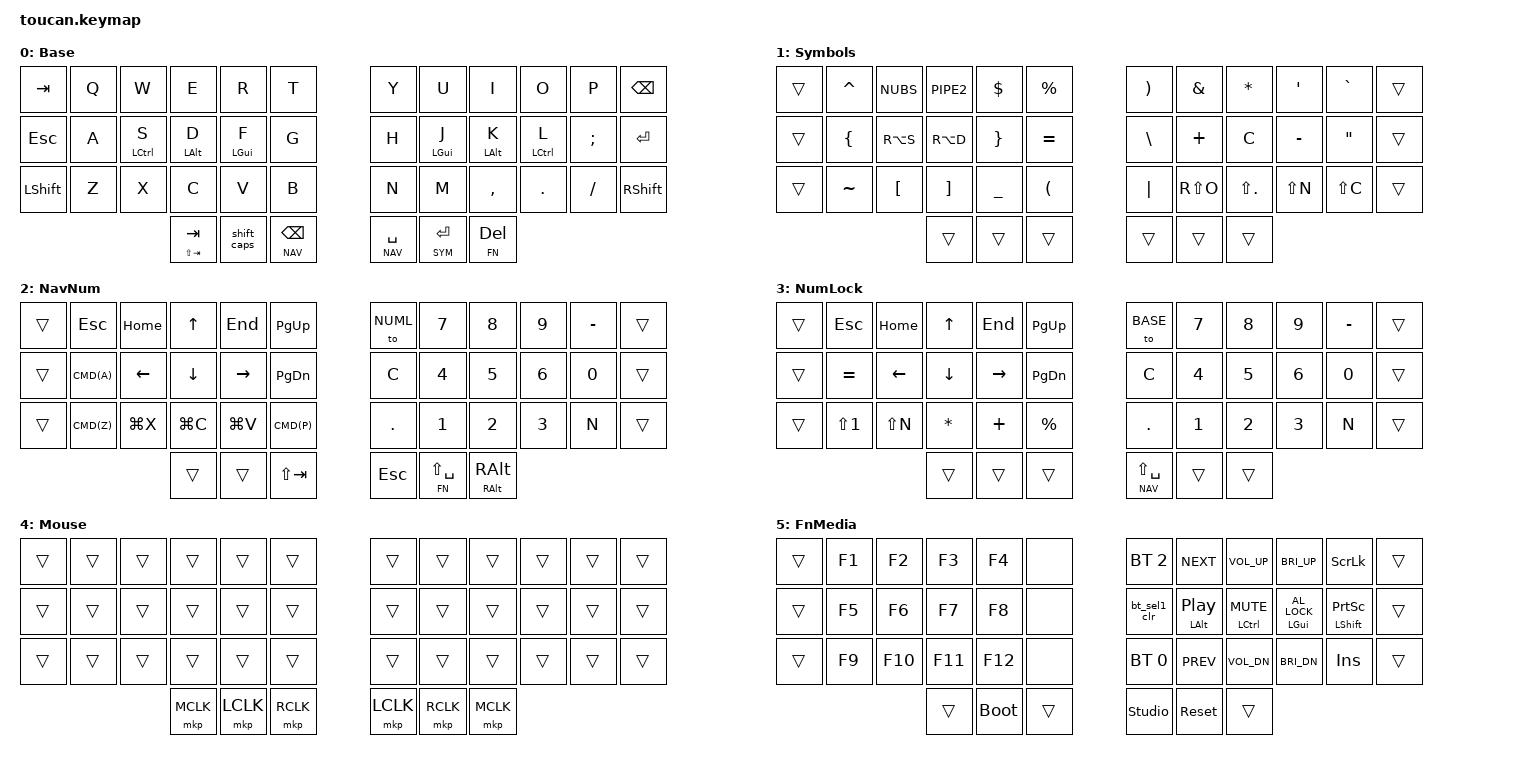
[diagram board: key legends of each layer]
// Toucan 2: Selenium keymap (HRM flavor) for an Ergo-L host on Linux
//
// 2026-09-10 hybrid: Selenium layers kept, base layer thumbs and home-row mods
// changed to match Kevin's Corne Vial layout.
//   HRM  : Ctrl/Alt/Gui on ring/middle/index (S D F, mirrored L K J). Pinky plain.
//   Left thumbs  (outer->inner): Tab, Shift (hold) / sticky Shift (tap) / Caps Word (2 taps), Nav-Backspace
//   36 keys populated: the outer pinky column never fires. Esc = combo on the top-row
//   R+T positions (Ergo-L p+w), also NavNum + Q. Outer thumb: tap = Tab, hold = Shift+Tab.
//   Right thumbs (inner->outer): Nav-Space, Sym-Enter (hold), Fn-Delete
// Hand-port of OneDeadKey/zmk-config-aekeynox using stock ZMK v0.3 behaviors,
// so it drops into beekeeb/zmk-keyboard-toucan2 as config/toucan.keymap
// with no other file changed (trackpad, screen, LEDs, zoom all untouched).

#include <behaviors.dtsi>
#include <dt-bindings/zmk/keys.h>
#include <dt-bindings/zmk/bt.h>
#include <dt-bindings/zmk/outputs.h>
#include <dt-bindings/zmk/pointing.h>
#include <dt-bindings/zmk/input_transform.h>

// ---------------------------------------------------------------------------
// Layer indices. Order chosen to match what toucan.dtsi hard-codes:
//   is_touching_processor -> &mo 4   (mouse layer)
//   trackpad scroller     -> <1 2>   (hold Sym or Nav + move pad = scroll)
// ---------------------------------------------------------------------------
#define BASE  0
#define SYM   1
#define NAV   2   // Selenium "NavNum"
#define NUML  3   // Selenium "NumLock" (latched NavNum)
#define MOUSE 4
#define FN    5   // Selenium "FnMedia"

// Selenium timings (aekeynox defaults.h)
#define TAPPING_TERM       300
#define SHORT_TAPPING_TERM 150
#define QUICK_TAP          200

// Linux: Ctrl is the shortcut modifier
#define CMD LC

// Trackpad scroll speed (hold Sym or Nav + move pad). Pad movement is divided
// by this before becoming wheel ticks; stock toucan.dtsi uses 20, which was
// too fast. Larger = slower. Hyprland's per-device `sensitivity` only affects
// the pointer, not scroll, so this is the knob. (Hyprland `scroll_factor` on
// toucan-mouse is the reflash-free alternative for fine tuning.)
#define SCROLL_DIV 40

// ---------------------------------------------------------------------------
// Ergo-L host aliases (copied from aekeynox aliases/ergol.h)
// Keycodes are chosen so the Ergo-L xkb layout outputs the right symbol.
// ---------------------------------------------------------------------------
#define X_UNDO  &kp CMD(Z)
#define X_CUT   &kp LG(X)   // Super+X -> Omarchy "Universal cut" (Hyprland bind)
#define X_COPY  &kp LG(C)   // Super+code:54 -> Omarchy "Universal copy" (Ctrl+Insert in terminals)
#define X_PASTE &kp LG(V)   // Super+code:55 -> Omarchy "Universal paste" (Shift+Insert in terminals)
#define X_REDO  &kp CMD(P)
#define X_ALL   &kp CMD(A)

// Symbols layer: ^<>$% @&*'`  {()}= \+-/"  ~[]_# |!;:?
#define S_CARET &kp CARET
#define S_LT    &kp NUBS
#define S_GT    &kp PIPE2
#define S_DLLR  &kp DLLR
#define S_PRCNT &kp PRCNT
#define S_AT    &kp RPAR
#define S_AMPS  &kp AMPS
#define S_STAR  &kp STAR
#define S_SQT   &kp SQT
#define S_GRAVE &kp GRAVE
#define S_LBRC  &kp LBRC
#define S_LPAR  &kp RA(S)
#define S_RPAR  &kp RA(D)
#define S_RBRC  &kp RBRC
#define S_EQUAL &kp EQUAL
#define S_BSLH  &kp BSLH
#define S_PLUS  &kp PLUS
#define S_MINUS &kp C
#define S_FSLH  &kp MINUS
#define S_DQT   &kp DQT
#define S_TILDE &kp TILDE
#define S_LBKT  &kp LBKT
#define S_RBKT  &kp RBKT
#define S_UNDER &kp UNDER
#define S_HASH  &kp LPAR
#define S_PIPE  &kp PIPE
#define S_EXCL  &kp RS(O)
#define S_SEMI  &kp LS(DOT)
#define S_COLON &kp LS(N)
#define S_QMARK &kp LS(C)
#define S_COMMA &kp DOT
#define S_DOT   &kp N
#define S_MONEY &kp LS(N1)

// "Easy" sticky layer / sticky key: hold = momentary, tap = one-shot
#define EZ_SL(layer) &bsl layer layer
#define EZ_SK(mod)   &bsk mod mod

// Global tweaks from aekeynox hold_taps.dtsi
&sl { ignore-modifiers; };  // keep one-shot mods when chaining into a one-shot layer
&sk { quick-release; };     // avoids sticky-shift false positives
&mt { tapping-term-ms = <SHORT_TAPPING_TERM>; quick-tap-ms = <QUICK_TAP>; };
&lt { tapping-term-ms = <TAPPING_TERM>;       quick-tap-ms = <QUICK_TAP>; };

/ {
    behaviors {
        // Home-row mods
        hrm: homerow_mods {
            compatible = "zmk,behavior-hold-tap";
            #binding-cells = <2>;
            tapping-term-ms = <TAPPING_TERM>;
            quick-tap-ms = <QUICK_TAP>;
            flavor = "tap-preferred";
            bindings = <&kp>, <&kp>;
        };

        // "Space cadet": layer-tap with hold-preferred (thumb keys)
        sc: space_cadet {
            compatible = "zmk,behavior-hold-tap";
            #binding-cells = <2>;
            tapping-term-ms = <SHORT_TAPPING_TERM>;
            quick-tap-ms = <QUICK_TAP>;
            flavor = "hold-preferred";
            bindings = <&mo>, <&kp>;
        };

        // More robust one-shot layer / one-shot mod (macro-wrapped &sl / &sk)
        osl: one_shot_layer {
            compatible = "zmk,behavior-macro-one-param";
            #binding-cells = <1>;
            tap-ms = <0>;
            wait-ms = <0>;
            bindings = <&macro_param_1to1>, <&macro_tap &sl MACRO_PLACEHOLDER>;
        };
        bsl: better_sticky_layer {
            compatible = "zmk,behavior-hold-tap";
            #binding-cells = <2>;
            tapping-term-ms = <TAPPING_TERM>;
            flavor = "tap-preferred";
            bindings = <&mo>, <&osl>;
        };
        osm: one_shot_modifier {
            compatible = "zmk,behavior-macro-one-param";
            #binding-cells = <1>;
            tap-ms = <0>;
            wait-ms = <0>;
            bindings = <&macro_param_1to1>, <&macro_tap &sk MACRO_PLACEHOLDER>;
        };
        bsk: better_sticky_key {
            compatible = "zmk,behavior-hold-tap";
            #binding-cells = <2>;
            tapping-term-ms = <TAPPING_TERM>;
            flavor = "tap-preferred";
            bindings = <&kp>, <&osm>;
            hold-while-undecided;
        };

        // Left outer thumb: tap = Tab, hold = Shift+Tab. Tap-preferred so Tab then a
        // letter never turns into a hold; quick-tap keeps press-and-hold as Tab repeat.
        ttab: tab_shift_tab {
            compatible = "zmk,behavior-hold-tap";
            #binding-cells = <2>;
            tapping-term-ms = <200>;
            quick-tap-ms = <QUICK_TAP>;
            flavor = "tap-preferred";
            bindings = <&kp>, <&kp>;
        };

        // Left tuck thumb: sticky Shift, Shift + tap again = Caps Word
        shift_caps: shift_caps {
            compatible = "zmk,behavior-mod-morph";
            #binding-cells = <0>;
            bindings = <EZ_SK(LSHIFT)>, <&unshift_caps>;
            mods = <(MOD_LSFT)>;
        };
        unshift_caps: unshift_caps {
            compatible = "zmk,behavior-macro";
            #binding-cells = <0>;
            bindings = <&macro_tap &kp K_CANCEL>, <&caps_word>;
        };

        // Right tuck thumb: one-shot Symbols layer;
        // with Shift only -> one-shot Shift+AltGr (Ergo-L 3rd level shifted)
        sym_shift_altgr: sym_shift_altgr {
            compatible = "zmk,behavior-mod-morph";
            #binding-cells = <0>;
            bindings = <&sym_shift_altgr_inner>, <EZ_SL(SYM)>;
            mods = <(MOD_LCTL|MOD_RCTL|MOD_LGUI|MOD_RGUI|MOD_LALT)>;
            keep-mods = <(MOD_LCTL|MOD_RCTL|MOD_LGUI|MOD_RGUI|MOD_LALT)>;
        };
        sym_shift_altgr_inner: sym_shift_altgr_inner {
            compatible = "zmk,behavior-mod-morph";
            #binding-cells = <0>;
            bindings = <EZ_SL(SYM)>, <EZ_SK(LS(RALT))>;
            mods = <(MOD_LSFT|MOD_RSFT)>;
            keep-mods = <(MOD_LSFT|MOD_RSFT)>;
        };

        // NavNum right-outer thumb: tap = back to base + one-shot AltGr, hold = AltGr
        lkp: goto_layer_then_keypress {
            compatible = "zmk,behavior-macro-one-param";
            #binding-cells = <1>;
            wait-ms = <0>;
            tap-ms = <0>;
            bindings
                = <&macro_tap &to BASE>
                , <&macro_param_1to1>, <&macro_press &kp MACRO_PLACEHOLDER>
                , <&macro_pause_for_release>
                , <&macro_param_1to1>, <&macro_release &kp MACRO_PLACEHOLDER>;
        };
        losm: goto_layer_then_osm {
            compatible = "zmk,behavior-macro-one-param";
            #binding-cells = <1>;
            wait-ms = <0>;
            tap-ms = <0>;
            bindings
                = <&macro_tap &to BASE>
                , <&macro_param_1to1>, <&macro_tap &sk MACRO_PLACEHOLDER>;
        };
        lbsk: bsk_on_other_layer {
            compatible = "zmk,behavior-hold-tap";
            #binding-cells = <2>;
            tapping-term-ms = <TAPPING_TERM>;
            flavor = "tap-preferred";
            bindings = <&lkp>, <&losm>;
        };

        // FnMedia: tap = BT profile 1, Shift+tap = clear that profile's bond
        bt_sel1_clr: bt_sel1_clr {
            compatible = "zmk,behavior-mod-morph";
            #binding-cells = <0>;
            bindings = <&bt BT_SEL 1>, <&bt BT_CLR>;
            mods = <(MOD_LSFT)>;
        };
    };

    combos {
        compatible = "zmk,combos";
        // Top row, index + middle (physical R T, Ergo-L p w): Esc. Base layer only.
        combo_esc {
            timeout-ms = <40>;
            key-positions = <4 5>;
            bindings = <&kp ESC>;
            layers = <BASE>;
        };
    };

    keymap {
        compatible = "zmk,keymap";

        // 0. Base: QWERTY keycodes, host does Ergo-L. HRM: Gui/Ctl/Alt on ring/middle/index
        base {
            display-name = "Base";
            bindings = <
&kp TAB    &kp Q  &kp W          &kp E          &kp R          &kp T     &kp Y  &kp U          &kp I          &kp O          &kp P     &kp BSPC
&kp ESC    &kp A  &hrm LCTRL S   &hrm LALT D    &hrm LGUI F    &kp G     &kp H  &hrm LGUI J    &hrm LALT K    &hrm LCTRL L   &kp SEMI  &kp RET
&kp LSHFT  &kp Z  &kp X          &kp C          &kp V          &kp B     &kp N  &kp M          &kp COMMA      &kp DOT        &kp FSLH  &kp RSHFT
                  &ttab LS(TAB) TAB  &shift_caps  &sc NAV BSPC           &lt NAV SPACE  &sc SYM RET    &sc FN DEL
            >;
        };

        // 1. Symbols (same as Ergo-L AltGr layer). Trackpad scrolls while held.
        sym {
            display-name = "Symbols";
            bindings = <
&trans  S_CARET S_LT    S_GT    S_DLLR  S_PRCNT     S_AT    S_AMPS  S_STAR  S_SQT   S_GRAVE  &trans
&trans  S_LBRC  S_LPAR  S_RPAR  S_RBRC  S_EQUAL     S_BSLH  S_PLUS  S_MINUS S_FSLH  S_DQT    &trans
&trans  S_TILDE S_LBKT  S_RBKT  S_UNDER S_HASH      S_PIPE  S_EXCL  S_SEMI  S_COLON S_QMARK  &trans
                &trans  &trans  &trans      &trans  &trans  &trans
            >;
        };

        // 2. NavNum: arrows left, numpad right. Trackpad scrolls while held.
        nav {
            display-name = "NavNum";
            bindings = <
&trans  &kp ESC  &kp HOME &kp UP   &kp END   &kp PG_UP    &to NUML  &kp N7 &kp N8 &kp N9 S_FSLH  &trans
&trans  X_ALL    &kp LEFT &kp DOWN &kp RIGHT &kp PG_DN    S_MINUS   &kp N4 &kp N5 &kp N6 &kp N0  &trans
&trans  X_UNDO   X_CUT    X_COPY   X_PASTE   X_REDO       S_COMMA   &kp N1 &kp N2 &kp N3 S_DOT   &trans
                 &trans         &trans      &kp LS(TAB)   &kp ESC   &lt FN LS(SPACE)  &lbsk RALT RALT
            >;
        };

        // 3. NumLock: NavNum latched on, &to BASE (top right index) to leave
        numlock {
            display-name = "NumLock";
            bindings = <
&trans  &kp ESC  &kp HOME &kp UP   &kp END   &kp PG_UP    &to BASE  &kp N7 &kp N8 &kp N9 S_FSLH  &trans
&trans  S_EQUAL  &kp LEFT &kp DOWN &kp RIGHT &kp PG_DN    S_MINUS   &kp N4 &kp N5 &kp N6 &kp N0  &trans
&trans  S_MONEY  S_COLON  S_STAR   S_PLUS    S_PRCNT      S_COMMA   &kp N1 &kp N2 &kp N3 S_DOT   &trans
                 &trans  &trans        &trans             &lt NAV LS(SPACE)  &trans    &trans
            >;
        };

        // 4. Mouse: auto-activated while touching the trackpad (Toucan default)
        mouse {
            display-name = "Mouse";
            bindings = <
&trans &trans &trans &trans &trans &trans    &trans &trans &trans &trans &trans &trans
&trans &trans &trans &trans &trans &trans    &trans &trans &trans &trans &trans &trans
&trans &trans &trans &trans &trans &trans    &trans &trans &trans &trans &trans &trans
                   &mkp MCLK &mkp LCLK &mkp RCLK    &mkp LCLK &mkp RCLK &mkp MCLK
            >;
        };

        // 5. FnMedia: F-keys left, media + BT right. Reach thumbs (hold) to enter.
        fn {
            display-name = "FnMedia";
            bindings = <
&trans  &kp F1 &kp F2  &kp F3  &kp F4  &none    &bt BT_SEL 2  &kp C_NEXT          &kp C_VOL_UP        &kp C_BRI_UP           &kp SLCK           &trans
&trans  &kp F5 &kp F6  &kp F7  &kp F8  &none    &bt_sel1_clr  &hrm LALT C_PP      &hrm LCTRL C_MUTE   &hrm LGUI C_AL_LOCK    &hrm LSHFT PSCRN   &trans
&trans  &kp F9 &kp F10 &kp F11 &kp F12 &none    &bt BT_SEL 0  &kp C_PREV          &kp C_VOL_DN        &kp C_BRI_DN           &kp INS            &trans
                       &trans  &bootloader  &trans              &studio_unlock  &sys_reset  &trans
            >;
        };
    };
};

// ---------------------------------------------------------------------------
// Optional: Toucan trackpad gestures default to macOS shortcuts (Cmd).
// Keypad -/+ zoom works in Firefox/Chromium regardless of Ergo-L.
// Swipes N/E/S/W: set to your Hyprland binds (~/.config/hypr).
// ---------------------------------------------------------------------------
&zip_zoom_mapper {
    bindings = <&kp LC(KP_MINUS)>, <&kp LC(KP_PLUS)>;
};

&swipe_button_mapper {
    bindings = <&kp LG(TAB)>, <&kp LG(RIGHT)>, <&kp LG(LS(TAB))>, <&kp LG(LEFT)>;
};

// Scroll layer override: same chain as toucan.dtsi, only the divisor changes.
&trackpad_listener {
    scroller {
        input-processors = <
            &zip_xy_to_scroll_mapper
            &zip_scroll_scaler 1 SCROLL_DIV
            &zip_scroll_transform INPUT_TRANSFORM_X_INVERT
        >;
    };
};
